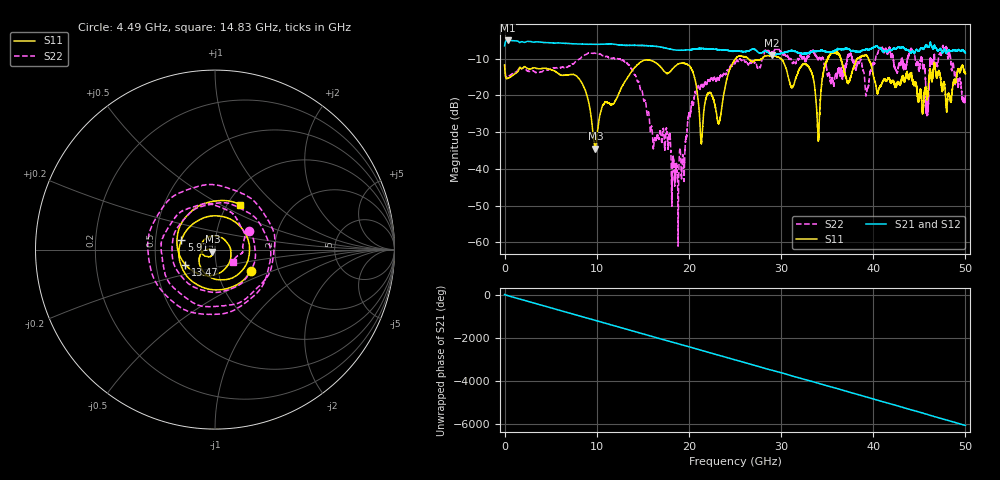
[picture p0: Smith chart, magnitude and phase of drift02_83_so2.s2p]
!Created with skrf (http://scikit-rf.org).
# Hz S RI R 50.0
!freq ReS11 ImS11 ReS21 ImS21 ReS12 ImS12 ReS22 ImS22
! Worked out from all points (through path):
!   10001 points, 300 kHz to 50 GHz, reference 50 ohm
!   highest |S21| = -5.04 dB at 325.3 MHz (marker M1); lowest = -9.0 dB at 29.01 GHz (marker M2)
!   group delay of S21, straight-line fit = 336 ps
!   lowest |S11| = -34.5 dB at 9.85 GHz (marker M3), VSWR 1.04, Z = 48.5 - j1.13 ohm
!   |S11| at or under -10 dB: start of sweep to 25.08 GHz; 29.97 GHz to 35.06 GHz (5.09 GHz wide, 15.7 % of centre); 39.48 GHz to end of sweep (the widest 3 of 9)
!   |S22| runs from -61.0 to -6.4 dB; largest |S21 - S12| = 0.021
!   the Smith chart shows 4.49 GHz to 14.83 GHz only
!   S11 on the Smith chart (normalised r, x): 4.49 GHz: 1.44, -0.37; 5.91 GHz: 0.68, +0.08; 13.47 GHz: 0.71, -0.12; 14.83 GHz: 1.14, +0.63
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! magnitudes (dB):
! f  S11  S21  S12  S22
! 300 kHz  -11.7  -6.5  -6.5  -11.6
! 325.3 MHz  -15.4  -5.0  -5.0  -15.0
! 4.49 GHz  -12.7  -5.6  -5.6  -13.2
! 5.91 GHz  -14.2  -5.7  -5.7  -12.4
! 8.335 GHz  -16.4  -6.0  -6.0  -9.6
! 9.85 GHz  -34.5  -6.1  -6.1  -8.5
! 13.47 GHz  -14.6  -6.4  -6.4  -11.6
! 14.83 GHz  -10.8  -6.4  -6.4  -18.4
! 16.67 GHz  -11.6  -6.7  -6.7  -31.5
! 18.67 GHz  -11.8  -7.7  -7.7  -39.1
! 20.37 GHz  -13.2  -7.5  -7.5  -21.9
! 21.37 GHz  -32.5  -7.2  -7.2  -16.9
! 23.31 GHz  -27.2  -7.5  -7.6  -15.7
! 25 GHz  -10.3  -7.9  -7.9  -11.3
! 29.01 GHz  -9.1  -9.0  -9.0  -8.2
! 33.34 GHz  -13.9  -8.1  -8.1  -8.1
! 34.02 GHz  -31.6  -7.9  -8.0  -10.3
! 35.54 GHz  -8.4  -8.1  -8.1  -15.3
! 41.67 GHz  -15.3  -7.7  -7.7  -7.4
! 45.86 GHz  -21.0  -6.7  -6.8  -21.9
! 47.76 GHz  -17.0  -7.5  -7.5  -7.6
! 50 GHz  -14.1  -8.4  -8.4  -19.9
